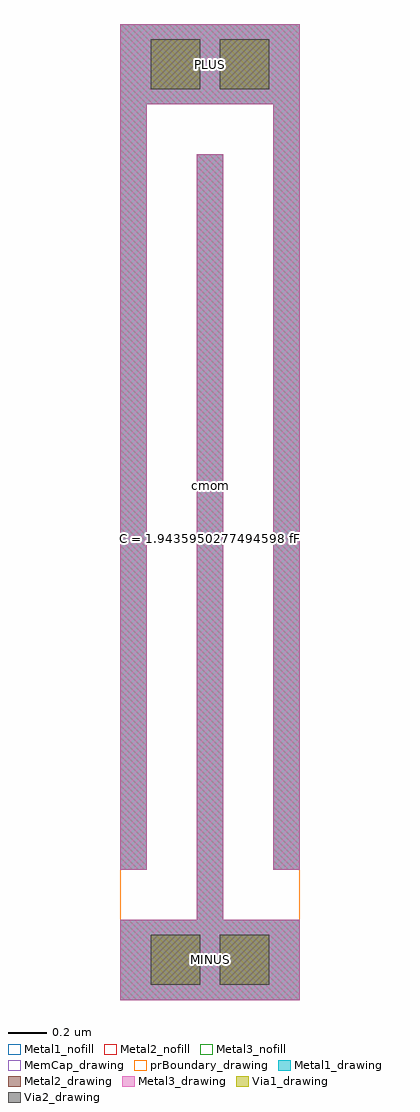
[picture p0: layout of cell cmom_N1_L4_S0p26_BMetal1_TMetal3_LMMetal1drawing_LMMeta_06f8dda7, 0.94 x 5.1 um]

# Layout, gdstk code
import gdstk
lib = gdstk.Library(unit=1e-6, precision=1e-09)
def R(c, l, rs):  # rectangles x0, y0, x1, y1
    for r in rs: c.add(gdstk.rectangle(r[:2], r[2:], *l))
Metal1_drawing = (8, 0)
Metal1_nofill = (8, 23)
Metal2_drawing = (10, 0)
Metal2_nofill = (10, 23)
Via1_drawing = (19, 0)
Via2_drawing = (29, 0)
Metal3_drawing = (30, 0)
Metal3_nofill = (30, 23)
MemCap_drawing = (69, 0)
prBoundary_drawing = (189, 0)

rectangle_gdsfactorypcom = lib.new_cell('rectangle_gdsfactorypcomponentspshapesprectangle_S0p14__7f8085ce')
R(rectangle_gdsfactorypcom, Metal1_drawing, [(0,0,0.14,4)])

c_rectangle_gdsfactorypcom = lib.new_cell('rectangle_gdsfactorypcomponentspshapesprectangle_S0p940_d067df01')
R(c_rectangle_gdsfactorypcom, Metal1_drawing, [(0,0,0.94,0.42)])

bbox_gdsfactorypcomponen = lib.new_cell('bbox_gdsfactorypcomponentspshapespbbox_CUnnamed_73_LMet_0b5a76bf')
R(bbox_gdsfactorypcomponen, Metal1_nofill, [(0,-0.42,0.94,4.68)])

c_rectangle_gdsfactorypcom_ = lib.new_cell('rectangle_gdsfactorypcomponentspshapesprectangle_S0p14__4036ba68')
R(c_rectangle_gdsfactorypcom_, Metal2_drawing, [(0,0,0.14,4)])

c_rectangle_gdsfactorypcom__ = lib.new_cell('rectangle_gdsfactorypcomponentspshapesprectangle_S0p940_b4c4cc29')
R(c_rectangle_gdsfactorypcom__, Metal2_drawing, [(0,0,0.94,0.42)])

c_bbox_gdsfactorypcomponen = lib.new_cell('bbox_gdsfactorypcomponentspshapespbbox_CUnnamed_73_LMet_5bfe2875')
R(c_bbox_gdsfactorypcomponen, Metal2_nofill, [(0,-0.42,0.94,4.68)])

c_rectangle_gdsfactorypcom___ = lib.new_cell('rectangle_gdsfactorypcomponentspshapesprectangle_S0p14__fe7b6632')
R(c_rectangle_gdsfactorypcom___, Metal3_drawing, [(0,0,0.14,4)])

c_rectangle_gdsfactorypcom____ = lib.new_cell('rectangle_gdsfactorypcomponentspshapesprectangle_S0p940_a2bdffec')
R(c_rectangle_gdsfactorypcom____, Metal3_drawing, [(0,0,0.94,0.42)])

c_bbox_gdsfactorypcomponen_ = lib.new_cell('bbox_gdsfactorypcomponentspshapespbbox_CUnnamed_73_LMet_4241e86a')
R(c_bbox_gdsfactorypcomponen_, Metal3_nofill, [(0,-0.42,0.94,4.68)])

c_bbox_gdsfactorypcomponen__ = lib.new_cell('bbox_gdsfactorypcomponentspshapespbbox_CUnnamed_73_LMem_d8697ebb')
R(c_bbox_gdsfactorypcomponen__, MemCap_drawing, [(0,-0.42,0.94,4.68)])

c_rectangle_gdsfactorypcom_____ = lib.new_cell('rectangle_gdsfactorypcomponentspshapesprectangle_S0p940_875e0e18')
R(c_rectangle_gdsfactorypcom_____, Metal1_drawing, [(-0.47,-0.21,0.47,0.21)])

c_rectangle_gdsfactorypcom______ = lib.new_cell('rectangle_gdsfactorypcomponentspshapesprectangle_S0p940_3a9ed27a')
R(c_rectangle_gdsfactorypcom______, Metal2_drawing, [(-0.47,-0.21,0.47,0.21)])

c_rectangle_gdsfactorypcom_______ = lib.new_cell('rectangle_gdsfactorypcomponentspshapesprectangle_S0p940_64bef237')
R(c_rectangle_gdsfactorypcom_______, Metal3_drawing, [(-0.47,-0.21,0.47,0.21)])

c_rectangle_gdsfactorypcom________ = lib.new_cell('rectangle_gdsfactorypcomponentspshapesprectangle_S0p26__6e8be91d')
R(c_rectangle_gdsfactorypcom________, Via1_drawing, [(0,0,0.26,0.26)])

via_array_vtvia1_c2_r1_v = lib.new_cell('via_array_VTVia1_C2_R1_VS0p26_VS0p36_VE0p06_LCContdrawi_df68a4eb')
via_array_vtvia1_c2_r1_v.add(gdstk.Reference(c_rectangle_gdsfactorypcom________, (0,0)))
via_array_vtvia1_c2_r1_v.add(gdstk.Reference(c_rectangle_gdsfactorypcom________, (0.36,0)))

c_rectangle_gdsfactorypcom_________ = lib.new_cell('rectangle_gdsfactorypcomponentspshapesprectangle_S0p26__938c5197')
R(c_rectangle_gdsfactorypcom_________, Via2_drawing, [(0,0,0.26,0.26)])

via_array_vtvia2_c2_r1_v = lib.new_cell('via_array_VTVia2_C2_R1_VS0p26_VS0p36_VE0p06_LCContdrawi_c41be849')
via_array_vtvia2_c2_r1_v.add(gdstk.Reference(c_rectangle_gdsfactorypcom_________, (0,0)))
via_array_vtvia2_c2_r1_v.add(gdstk.Reference(c_rectangle_gdsfactorypcom_________, (0.36,0)))

via_stack_blmetal1_tlmet = lib.new_cell('via_stack_BLMetal1_TLMetal3_S0p9400000000000002_0p42000_43c236c4')
via_stack_blmetal1_tlmet.add(gdstk.Reference(c_rectangle_gdsfactorypcom_____, (0,0)))
via_stack_blmetal1_tlmet.add(gdstk.Reference(c_rectangle_gdsfactorypcom______, (0,0)))
via_stack_blmetal1_tlmet.add(gdstk.Reference(c_rectangle_gdsfactorypcom_______, (0,0)))
via_stack_blmetal1_tlmet.add(gdstk.Reference(via_array_vtvia1_c2_r1_v, (-0.31,-0.13)))
via_stack_blmetal1_tlmet.add(gdstk.Reference(via_array_vtvia2_c2_r1_v, (-0.31,-0.13)))

c_bbox_gdsfactorypcomponen___ = lib.new_cell('bbox_gdsfactorypcomponentspshapespbbox_CUnnamed_73_LprB_6b5dba8f')
R(c_bbox_gdsfactorypcomponen___, prBoundary_drawing, [(0,-0.42,0.94,4.68)])

cmom_n1_l4_s0p26_bmetal1 = lib.new_cell('cmom_N1_L4_S0p26_BMetal1_TMetal3_LMMetal1drawing_LMMeta_06f8dda7')
r = gdstk.Reference(rectangle_gdsfactorypcom, (0,0.26)); r.repetition = gdstk.Repetition(2, 1, v1=(0.8,0), v2=(0,0)); cmom_n1_l4_s0p26_bmetal1.add(r)
cmom_n1_l4_s0p26_bmetal1.add(gdstk.Reference(rectangle_gdsfactorypcom, (0.4,0)))
cmom_n1_l4_s0p26_bmetal1.add(gdstk.Reference(c_rectangle_gdsfactorypcom, (0,4.26)))
cmom_n1_l4_s0p26_bmetal1.add(gdstk.Reference(c_rectangle_gdsfactorypcom, (0,-0.42)))
cmom_n1_l4_s0p26_bmetal1.add(gdstk.Reference(bbox_gdsfactorypcomponen, (0,0)))
r = gdstk.Reference(c_rectangle_gdsfactorypcom_, (0,0.26)); r.repetition = gdstk.Repetition(2, 1, v1=(0.8,0), v2=(0,0)); cmom_n1_l4_s0p26_bmetal1.add(r)
cmom_n1_l4_s0p26_bmetal1.add(gdstk.Reference(c_rectangle_gdsfactorypcom_, (0.4,0)))
cmom_n1_l4_s0p26_bmetal1.add(gdstk.Reference(c_rectangle_gdsfactorypcom__, (0,4.26)))
cmom_n1_l4_s0p26_bmetal1.add(gdstk.Reference(c_rectangle_gdsfactorypcom__, (0,-0.42)))
cmom_n1_l4_s0p26_bmetal1.add(gdstk.Reference(c_bbox_gdsfactorypcomponen, (0,0)))
r = gdstk.Reference(c_rectangle_gdsfactorypcom___, (0,0.26)); r.repetition = gdstk.Repetition(2, 1, v1=(0.8,0), v2=(0,0)); cmom_n1_l4_s0p26_bmetal1.add(r)
cmom_n1_l4_s0p26_bmetal1.add(gdstk.Reference(c_rectangle_gdsfactorypcom___, (0.4,0)))
cmom_n1_l4_s0p26_bmetal1.add(gdstk.Reference(c_rectangle_gdsfactorypcom____, (0,4.26)))
cmom_n1_l4_s0p26_bmetal1.add(gdstk.Reference(c_rectangle_gdsfactorypcom____, (0,-0.42)))
cmom_n1_l4_s0p26_bmetal1.add(gdstk.Reference(c_bbox_gdsfactorypcomponen_, (0,0)))
cmom_n1_l4_s0p26_bmetal1.add(gdstk.Reference(c_bbox_gdsfactorypcomponen__, (0,0)))
cmom_n1_l4_s0p26_bmetal1.add(gdstk.Reference(via_stack_blmetal1_tlmet, (0.47,-0.21)))
cmom_n1_l4_s0p26_bmetal1.add(gdstk.Reference(via_stack_blmetal1_tlmet, (0.47,4.47)))
cmom_n1_l4_s0p26_bmetal1.add(gdstk.Reference(c_bbox_gdsfactorypcomponen___, (0,0)))
cmom_n1_l4_s0p26_bmetal1.add(gdstk.Label('PLUS', (0.47,4.47), layer=30, texttype=1))
cmom_n1_l4_s0p26_bmetal1.add(gdstk.Label('MINUS', (0.47,-0.21), layer=30, texttype=1))
cmom_n1_l4_s0p26_bmetal1.add(gdstk.Label('PLUS', (0.47,4.47), layer=63, texttype=0))
cmom_n1_l4_s0p26_bmetal1.add(gdstk.Label('MINUS', (0.47,-0.21), layer=63, texttype=0))
cmom_n1_l4_s0p26_bmetal1.add(gdstk.Label('cmom', (0.47,2.27), layer=63, texttype=0))
cmom_n1_l4_s0p26_bmetal1.add(gdstk.Label('C = 1.9435950277494598 fF', (0.47,1.99), layer=63, texttype=0))

lib.write_gds('cmom_N1_L4_S0p26_BMetal1_TMetal3_LMMetal1drawing_LMMeta_06f8dda7.gds')
